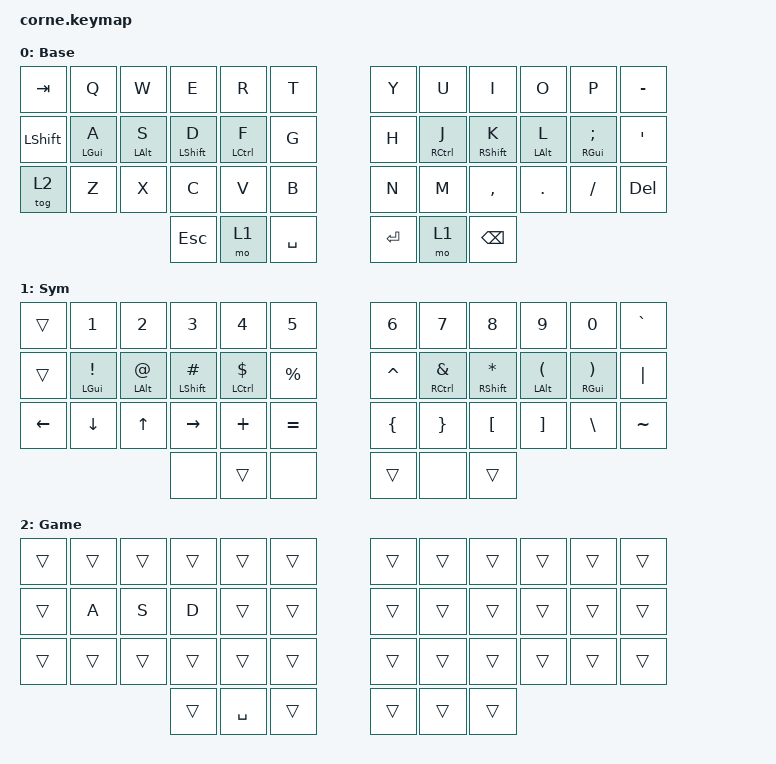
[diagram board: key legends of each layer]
#include <behaviors.dtsi>
#include <dt-bindings/zmk/bt.h>
#include <dt-bindings/zmk/keys.h>

/ {
	behaviors {
		hm: homerow-mod {
			compatible = "zmk,behavior-hold-tap";
			label = "Homerow mod";
			bindings = <&kp>, <&kp>;
			#binding-cells = <2>;
			tapping-term-ms = <200>;
			quick-tap-ms = <200>;
			flavor = "balanced";
		};
	};

	keymap {
		compatible = "zmk,keymap";

		default-layer {
			display-name = "Base";

			bindings = <
				&kp TAB &kp Q &kp W &kp E &kp R &kp T &kp Y &kp U &kp I &kp O &kp P &kp MINUS
				&kp LSHFT &hm LGUI A &hm LALT S &hm LSHFT D &hm LCTRL F &kp G &kp H &hm RCTRL J &hm RSHFT K &hm LALT L &hm RGUI SEMI &kp SQT
				&tog 2 &kp Z &kp X &kp C &kp V &kp B &kp N &kp M &kp COMMA &kp DOT &kp FSLH &kp DEL
				&kp ESC &mo 1 &kp SPACE &kp RET &mo 1 &kp BSPC
			>;
		};

		symbol-layer {
			display-name = "Sym";

			bindings = <
				&trans &kp N1 &kp N2 &kp N3 &kp N4 &kp N5 &kp N6 &kp N7 &kp N8 &kp N9 &kp N0 &kp GRAVE
				&trans &hm LGUI EXCL &hm LALT AT &hm LSHFT POUND &hm LCTRL DOLLAR &kp PRCNT &kp CARET &hm RCTRL AMPS &hm RSHFT ASTRK &hm LALT LPAR &hm RGUI RPAR &kp PIPE
				&kp LEFT &kp DOWN &kp UP &kp RIGHT &kp PLUS &kp EQUAL &kp LBRC &kp RBRC &kp LBKT &kp RBKT &kp BSLH &kp TILDE
				&none &trans &none &trans &none &trans
			>;
		};

		game-layer {
			display-name = "Game";

			bindings = <
				&trans &trans &trans &trans &trans &trans &trans &trans &trans &trans &trans &trans
				&trans &kp A &kp S &kp D &trans &trans &trans &trans &trans &trans &trans &trans
				&trans &trans &trans &trans &trans &trans &trans &trans &trans &trans &trans &trans
				&trans &kp SPACE &trans &trans &trans &trans
			>;
		};
	};
};
